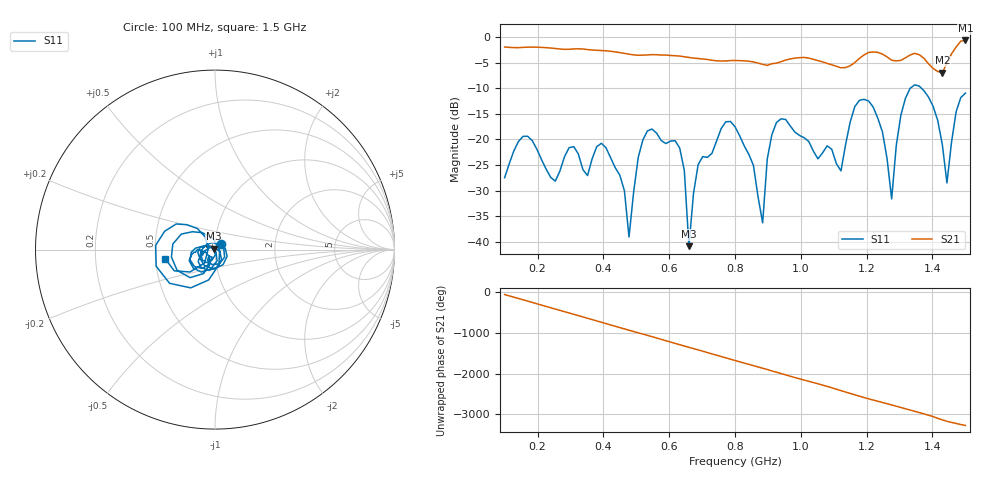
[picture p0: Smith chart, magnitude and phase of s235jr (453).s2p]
! NanoVNA-App
! Date: 2025-09-25 15:07:41
! Start: 100MHz Stop: 1,5GHz Points: 101
! S-Parameter data: F S11 S21 S12 S22
# Hz S RI R 50
!  Frequency  S11_Real  S11_Imag  S21_Real  S21_Imag  S12_Real  S12_Imag  S22_Real  S22_Imag
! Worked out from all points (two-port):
!   101 points, 100 MHz to 1.5 GHz, reference 50 ohm
!   highest |S21| = -0.69 dB at 1.5 GHz (marker M1); lowest = -7.0 dB at 1.43 GHz (marker M2)
!   |S21| within 3 dB of the highest: start of sweep to 621.9 MHz; 1.188 GHz to 1.257 GHz (68.38 MHz wide, 5.59 % of centre) (the widest 2 of 4)
!   lowest |S11| = -40.8 dB at 660 MHz (marker M3), VSWR 1.02, Z = 49.3 + j0.56 ohm
!   |S11| at or under -10 dB: start of sweep to 1.333 GHz; 1.366 GHz to end of sweep
!   S12 and S22 are empty: the file has one direction only
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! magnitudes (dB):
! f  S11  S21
! 100 MHz  -27.5  -2.0
! 156 MHz  -19.4  -2.0
! 338 MHz  -25.9  -2.4
! 408 MHz  -21.6  -2.7
! 478 MHz  -39.0  -3.4
! 520 MHz  -20.1  -3.6
! 576 MHz  -20.2  -3.5
! 632 MHz  -21.7  -3.7
! 660 MHz  -40.8  -4.0
! 688 MHz  -24.9  -4.2
! 800 MHz  -17.5  -4.6
! 884 MHz  -36.3  -5.3
! 898 MHz  -23.8  -5.5
! 926 MHz  -16.7  -5.1
! 1.038 GHz  -22.3  -4.4
! 1.122 GHz  -26.1  -6.0
! 1.206 GHz  -12.5  -3.0
! 1.276 GHz  -31.6  -4.5
! 1.332 GHz  -10.0  -3.5
! 1.43 GHz  -21.1  -7.0
! 1.444 GHz  -28.5  -5.1
! 1.5 GHz  -11.0  -0.7
